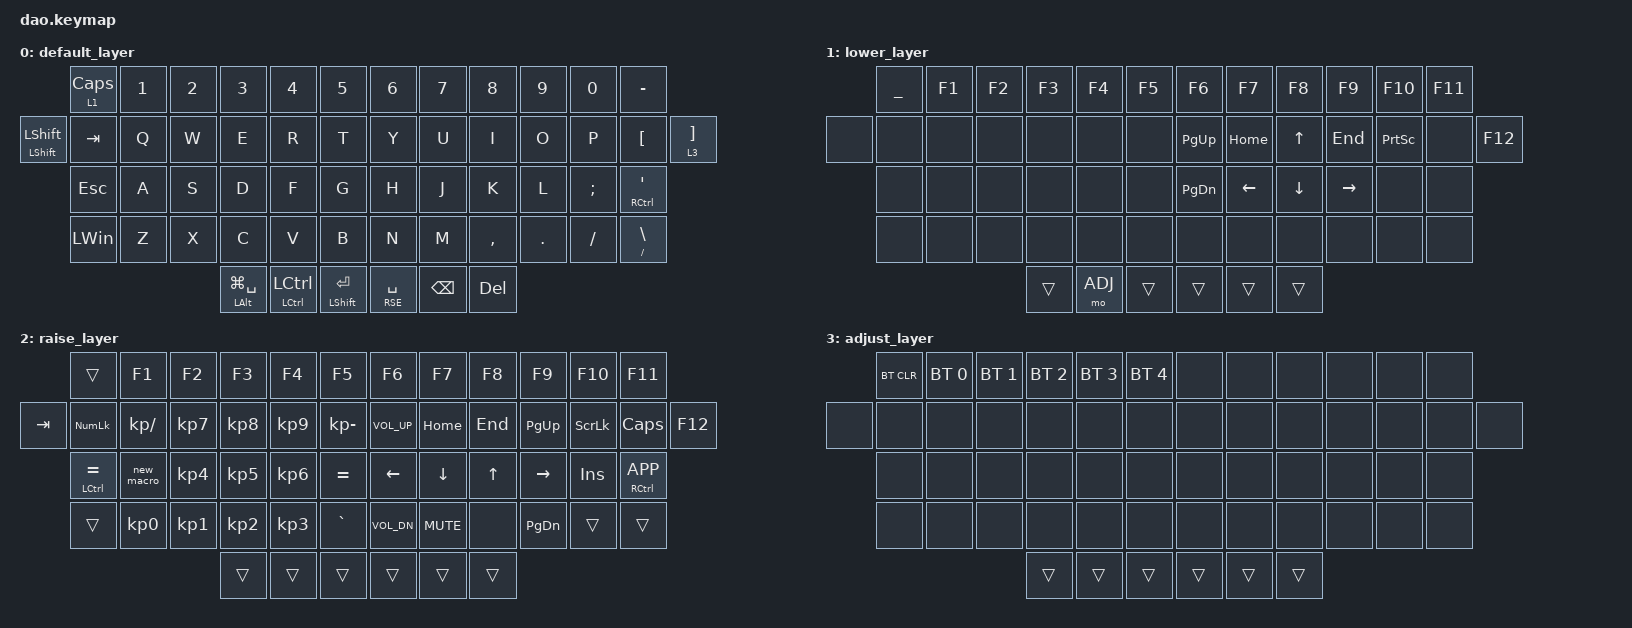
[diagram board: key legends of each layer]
/*
 * Copyright (c) 2021 Rafael Yumagulov
 *
 * SPDX-License-Identifier: MIT
 */

#include <behaviors.dtsi>
#include <dt-bindings/zmk/bt.h>
#include <dt-bindings/zmk/keys.h>

#define DEF 0
#define LWR 1
#define RSE 2
#define ADJ 3

&lt { quick_tap_ms = <200>; };

&mt { quick_tap_ms = <200>; };

/ {
    macros {
        new_macro: new_macro {
            compatible = "zmk,behavior-macro";
            #binding-cells = <0>;
            bindings = <&kp EQUAL &kp GREATER_THAN>;
            label = "NEW_MACRO";
        };
    };

    keymap {
        compatible = "zmk,keymap";

        default_layer {
            // -----------------------------------------------------------------------------------------
            //        | ESC  |  1  |  2  |  3  |  4  |  5  |   |  6  |  7   |  8  |  9  |  0  |      | 
            // |  GUI | TAB  |  Q  |  W  |  E  |  R  |  T  |   |  Y  |  U   |  I  |  O  |  P  |  [   | GUI/] |
            //        | CTRL |  A  |  S  |  D  |  F  |  G  |   |  H  |  J   |  K  |  L  |  ;  |CTRL/'|
            //        | LALT |  Z  |  X  |  C  |  V  |  B  |   |  N  |  M   |  ,  |  .  |  /  | RALT |
            //                           | LWR |     | SPC |   | RET | BKSP | DEL |

            bindings = <
                           &lt 1 CAPSLOCK  &kp N1  &kp N2  &kp N3                  &kp N4           &kp N5             &kp N6         &kp N7    &kp N8     &kp N9   &kp N0    &kp MINUS
&mt LEFT_SHIFT LEFT_SHIFT  &kp TAB         &kp Q   &kp W   &kp E                   &kp R            &kp T              &kp Y          &kp U     &kp I      &kp O    &kp P     &kp LBKT            &lt 3 RIGHT_BRACKET
                           &kp ESCAPE      &kp A   &kp S   &kp D                   &kp F            &kp G              &kp H          &kp J     &kp K      &kp L    &kp SEMI  &mt RCTRL SQT
                           &kp LEFT_WIN    &kp Z   &kp X   &kp C                   &kp V            &kp B              &kp N          &kp M     &kp COMMA  &kp DOT  &kp FSLH  &mt FSLH BACKSLASH
                                                           &mt LEFT_ALT LG(SPACE)  &mt LCTRL LCTRL  &mt LSHFT ENTER    &lt RSE SPACE  &kp BSPC  &kp DEL
            >;
        };

        lower_layer {
            // -----------------------------------------------------------------------------------------
            //       |  _  |  F1 |  F2 |  F3 |  F4 |  F5 |   |  F6 |  F7 |  F8 |  F9 | F10 |     |
            // |     |     |     |     |     |     |     |   |     |     |     |     |     |     |     |
            //       |     |     |     |     |     |     |   |     |     |     |     |     |     |
            //       |     |     |     |     |     |     |   |     |     |     |     |     |     |
            //                         | GUI |     | SPC |   | ENT |     | ALT |

            bindings = <
       &kp UNDER  &kp F1  &kp F2  &kp F3  &kp F4   &kp F5    &kp F6     &kp F7    &kp F8    &kp F9     &kp F10    &kp F11
&none  &none      &none   &none   &none   &none    &none     &kp PG_UP  &kp HOME  &kp UP    &kp END    &kp PSCRN  &none    &kp F12
       &none      &none   &none   &none   &none    &none     &kp PG_DN  &kp LEFT  &kp DOWN  &kp RIGHT  &none      &none
       &none      &none   &none   &none   &none    &none     &none      &none     &none     &none      &none      &none
                                  &trans  &mo ADJ  &trans    &trans     &trans    &trans
            >;
        };

        raise_layer {
            // -----------------------------------------------------------------------------------------
            //       |      |     |     |     |     |     |   |     |     |     |     |     |     |
            // |     | NMLK |  /  |  7  |  8  |  9  |  -  |   | VOLU| HOME|  UP | PGUP| SCLK| CLCK|     |
            //       | CTRL |  *  |  4  |  5  |  6  |  +  |   | MUT | LEFT| DOWN| RGHT| INS | APP |
            //       |      |  0  |  1  |  2  |  3  |  .  |   | VOLD| END |     | PGDN| PAUS|     |
            //                          |     |     | ADJ |   | ADJ |     |     |

            bindings = <
         &trans           &kp F1        &kp F2     &kp F3     &kp F4     &kp F5          &kp F6        &kp F7      &kp F8        &kp F9     &kp F10   &kp F11
&kp TAB  &kp KP_NUM       &kp KP_SLASH  &kp KP_N7  &kp KP_N8  &kp KP_N9  &kp KP_MINUS    &kp C_VOL_UP  &kp HOME    &kp END       &kp PG_UP  &kp SLCK  &kp CAPS         &kp F12
         &mt LCTRL EQUAL  &new_macro    &kp KP_N4  &kp KP_N5  &kp KP_N6  &kp EQUAL       &kp LEFT      &kp DOWN    &kp UP_ARROW  &kp RIGHT  &kp INS   &mt RCTRL K_APP
         &trans           &kp KP_N0     &kp KP_N1  &kp KP_N2  &kp KP_N3  &kp GRAVE       &kp C_VOL_DN  &kp C_MUTE  &none         &kp PG_DN  &trans    &trans
                                                   &trans     &trans     &trans          &trans        &trans      &trans
            >;
        };

        adjust_layer {
            // -----------------------------------------------------------------------------------------
            //       | BTCLR| BT0 | BT1 | BT2 | BT3 | BT4 |   |     |     |     |     |     |      |
            // |     |      |     |     |     |     |     |   |     |     |     |     |     |      |    |
            //       |      |     |     |     |     |     |   |     |     |     |     |     |      |
            //       |      |     |     |     |     |     |   |     |     |     |     |     |      |
            //                          |     |     |     |   |     |     |     |

            bindings = <
       &bt BT_CLR  &bt BT_SEL 0  &bt BT_SEL 1  &bt BT_SEL 2  &bt BT_SEL 3  &bt BT_SEL 4    &none   &none   &none   &none  &none  &none
&none  &none       &none         &none         &none         &none         &none           &none   &none   &none   &none  &none  &none  &none
       &none       &none         &none         &none         &none         &none           &none   &none   &none   &none  &none  &none
       &none       &none         &none         &none         &none         &none           &none   &none   &none   &none  &none  &none
                                               &trans        &trans        &trans          &trans  &trans  &trans
            >;
        };
    };
};
